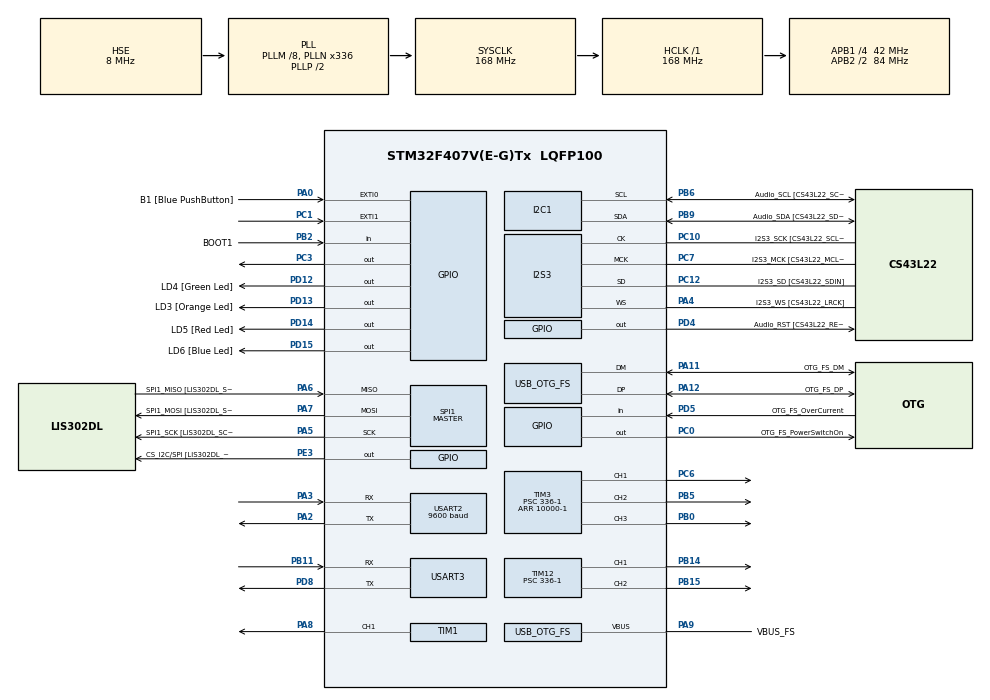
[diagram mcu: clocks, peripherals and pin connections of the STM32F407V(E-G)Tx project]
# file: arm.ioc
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I2S3.AudioFreq-Half_Duplex_Master=I2S_AUDIOFREQ_96K
I2S3.ErrorAudioFreq=-2.34 %
I2S3.ErrorAudioFreq-Half_Duplex_Master=0.8 %
I2S3.FullDuplexMode=I2S_FULLDUPLEXMODE_DISABLE
I2S3.Instance=SPI$Index
I2S3.RealAudioFreq=93.75 KHz
I2S3.RealAudioFreq-Half_Duplex_Master=96.774 KHz
I2S3.VirtualMode=I2S_MODE_MASTER
Mcu.Family=STM32F4
Mcu.Name=STM32F407V(E-G)Tx
Mcu.Package=LQFP100
NVIC.EXTI1_IRQn=true\:0\:0\:false\:true\:true\:1\:true\:true
NVIC.OTG_FS_IRQn=true\:0\:0\:false\:false\:true\:true\:true
NVIC.PriorityGroup=NVIC_PRIORITYGROUP_0
NVIC.USART3_IRQn=true\:0\:0\:false\:true\:true\:2\:true\:true
PA0-WKUP.GPIO_Label=B1 [Blue PushButton]
PA0-WKUP.GPIO_ModeDefaultEXTI=GPIO_MODE_EVT_RISING
PA0-WKUP.GPIO_PuPd=GPIO_NOPULL
PA0-WKUP.Signal=GPXTI0
PA10.GPIO_Label=OTG_FS_ID
PA10.GPIO_Mode=GPIO_MODE_AF_PP
PA10.GPIO_PuPd=GPIO_NOPULL
PA10.GPIO_Speed=GPIO_SPEED_FREQ_LOW
PA10.Signal=USB_OTG_FS_ID
PA11.GPIO_Label=OTG_FS_DM
PA11.GPIO_Mode=GPIO_MODE_AF_PP
PA11.GPIO_PuPd=GPIO_NOPULL
PA11.GPIO_Speed=GPIO_SPEED_FREQ_LOW
PA11.Mode=Host_Only
PA11.Signal=USB_OTG_FS_DM
PA12.GPIO_Label=OTG_FS_DP
PA12.GPIO_Mode=GPIO_MODE_AF_PP
PA12.GPIO_PuPd=GPIO_NOPULL
PA12.GPIO_Speed=GPIO_SPEED_FREQ_LOW
PA12.Mode=Host_Only
PA12.Signal=USB_OTG_FS_DP
PA13.GPIO_Label=SWDIO
PA13.Mode=Serial_Wire
PA13.Signal=SYS_JTMS-SWDIO
PA14.GPIO_Label=SWCLK
PA14.Mode=Serial_Wire
PA14.Signal=SYS_JTCK-SWCLK
PA2.Mode=Asynchronous
PA2.Signal=USART2_TX
PA3.Mode=Asynchronous
PA3.Signal=USART2_RX
PA4.GPIO_Label=I2S3_WS [CS43L22_LRCK]
PA4.GPIO_Mode=GPIO_MODE_AF_PP
PA4.GPIO_PuPd=GPIO_NOPULL
PA4.GPIO_Speed=GPIO_SPEED_FREQ_LOW
PA4.Mode=Half_Duplex_Master
PA4.Signal=I2S3_WS
PA5.GPIO_Label=SPI1_SCK [LIS302DL_SCL/SPC]
PA5.GPIO_Mode=GPIO_MODE_AF_PP
PA5.GPIO_PuPd=GPIO_NOPULL
PA5.GPIO_Speed=GPIO_SPEED_FREQ_LOW
PA5.Mode=Full_Duplex_Master
PA5.Signal=SPI1_SCK
PA6.GPIO_Label=SPI1_MISO [LIS302DL_SDO]
PA6.GPIO_Mode=GPIO_MODE_AF_PP
PA6.GPIO_PuPd=GPIO_NOPULL
PA6.GPIO_Speed=GPIO_SPEED_FREQ_LOW
PA6.Mode=Full_Duplex_Master
PA6.Signal=SPI1_MISO
PA7.GPIO_Label=SPI1_MOSI [LIS302DL_SDA/SDI/SDO]
PA7.GPIO_Mode=GPIO_MODE_AF_PP
PA7.GPIO_PuPd=GPIO_NOPULL
PA7.GPIO_Speed=GPIO_SPEED_FREQ_LOW
PA7.Mode=Full_Duplex_Master
PA7.Signal=SPI1_MOSI
PA8.Signal=S_TIM1_CH1
PA9.GPIO_Label=VBUS_FS
PA9.GPIO_Mode=GPIO_MODE_INPUT
PA9.GPIO_PuPd=GPIO_NOPULL
PA9.Mode=Activate_VBUS
PA9.Signal=USB_OTG_FS_VBUS
PB0.Signal=S_TIM3_CH3
PB10.GPIO_Label=CLK_IN [MP45DT02_CLK]
PB10.GPIO_Mode=GPIO_MODE_AF_PP
PB10.GPIO_PuPd=GPIO_NOPULL
PB10.GPIO_Speed=GPIO_SPEED_FREQ_LOW
PB10.Signal=I2S2_CK
PB11.Mode=Asynchronous
PB11.Signal=USART3_RX
PB14.Signal=S_TIM12_CH1
PB15.Signal=S_TIM12_CH2
PB2.GPIO_Label=BOOT1
PB2.GPIO_Mode=GPIO_MODE_INPUT
PB2.GPIO_PuPd=GPIO_NOPULL
PB2.Signal=GPIO_Input
PB3.GPIO_Label=SWO
PB3.Signal=SYS_JTDO-SWO
PB5.Signal=S_TIM3_CH2
PB6.GPIO_Label=Audio_SCL [CS43L22_SCL]
PB6.GPIO_Mode=GPIO_MODE_AF_OD
PB6.GPIO_PuPd=GPIO_NOPULL
PB6.GPIO_Speed=GPIO_SPEED_FREQ_LOW
PB6.Mode=I2C
PB6.Signal=I2C1_SCL
PB9.GPIO_Label=Audio_SDA [CS43L22_SDA]
PB9.GPIO_Mode=GPIO_MODE_AF_OD
PB9.GPIO_PuPd=GPIO_NOPULL
PB9.GPIO_Speed=GPIO_SPEED_FREQ_LOW
PB9.Mode=I2C
PB9.Signal=I2C1_SDA
PC0.GPIO_Label=OTG_FS_PowerSwitchOn
PC0.GPIO_PuPd=GPIO_NOPULL
PC0.GPIO_Speed=GPIO_SPEED_FREQ_LOW
PC0.PinState=GPIO_PIN_SET
PC0.Signal=GPIO_Output
PC1.GPIO_ModeDefaultEXTI=GPIO_MODE_IT_RISING_FALLING
PC1.Signal=GPXTI1
PC10.GPIO_Label=I2S3_SCK [CS43L22_SCLK]
PC10.GPIO_Mode=GPIO_MODE_AF_PP
PC10.GPIO_PuPd=GPIO_NOPULL
PC10.GPIO_Speed=GPIO_SPEED_FREQ_LOW
PC10.Mode=Half_Duplex_Master
PC10.Signal=I2S3_CK
PC12.GPIO_Label=I2S3_SD [CS43L22_SDIN]
PC12.GPIO_Mode=GPIO_MODE_AF_PP
PC12.GPIO_PuPd=GPIO_NOPULL
PC12.GPIO_Speed=GPIO_SPEED_FREQ_LOW
PC12.Mode=Half_Duplex_Master
PC12.Signal=I2S3_SD
PC14-OSC32_IN.GPIO_Label=PC14-OSC32_IN
PC14-OSC32_IN.Mode=LSE-External-Oscillator
PC14-OSC32_IN.Signal=RCC_OSC32_IN
PC15-OSC32_OUT.GPIO_Label=PC15-OSC32_OUT
PC15-OSC32_OUT.Mode=LSE-External-Oscillator
PC15-OSC32_OUT.Signal=RCC_OSC32_OUT
PC3.Signal=GPIO_Output
PC6.Signal=S_TIM3_CH1
PC7.GPIO_Label=I2S3_MCK [CS43L22_MCLK]
PC7.GPIO_Mode=GPIO_MODE_AF_PP
PC7.GPIO_PuPd=GPIO_NOPULL
PC7.GPIO_Speed=GPIO_SPEED_FREQ_LOW
PC7.Mode=Master_Clock_Activated
PC7.Signal=I2S3_MCK
PD12.GPIO_Label=LD4 [Green Led]
PD12.GPIO_PuPd=GPIO_NOPULL
PD12.GPIO_Speed=GPIO_SPEED_FREQ_LOW
PD12.Signal=GPIO_Output
PD13.GPIO_Label=LD3 [Orange Led]
PD13.GPIO_PuPd=GPIO_NOPULL
PD13.GPIO_Speed=GPIO_SPEED_FREQ_LOW
PD13.Signal=GPIO_Output
PD14.GPIO_Label=LD5 [Red Led]
PD14.GPIO_PuPd=GPIO_NOPULL
PD14.GPIO_Speed=GPIO_SPEED_FREQ_LOW
PD14.Signal=GPIO_Output
PD15.GPIO_Label=LD6 [Blue Led]
PD15.GPIO_PuPd=GPIO_NOPULL
PD15.GPIO_Speed=GPIO_SPEED_FREQ_LOW
PD15.Signal=GPIO_Output
PD4.GPIO_Label=Audio_RST [CS43L22_RESET]
PD4.GPIO_PuPd=GPIO_NOPULL
PD4.GPIO_Speed=GPIO_SPEED_FREQ_LOW
PD4.Signal=GPIO_Output
PD5.GPIO_Label=OTG_FS_OverCurrent
PD5.GPIO_Mode=GPIO_MODE_INPUT
PD5.GPIO_PuPd=GPIO_NOPULL
PD5.Signal=GPIO_Input
PD8.Mode=Asynchronous
PD8.Signal=USART3_TX
PE3.GPIO_Label=CS_I2C/SPI [LIS302DL_CS_I2C/SPI]
PE3.GPIO_PuPd=GPIO_NOPULL
PE3.GPIO_Speed=GPIO_SPEED_FREQ_LOW
PE3.Signal=GPIO_Output
PH0-OSC_IN.GPIO_Label=PH0-OSC_IN
PH0-OSC_IN.Mode=HSE-External-Oscillator
PH0-OSC_IN.Signal=RCC_OSC_IN
PH1-OSC_OUT.GPIO_Label=PH1-OSC_OUT
PH1-OSC_OUT.Mode=HSE-External-Oscillator
PH1-OSC_OUT.Signal=RCC_OSC_OUT
ProjectManager.HeapSize=0x200
ProjectManager.StackSize=0x400
ProjectManager.TargetToolchain=TrueSTUDIO
RCC.48MHZClocksFreq_Value=48000000
RCC.AHBFreq_Value=168000000
RCC.APB1CLKDivider=RCC_HCLK_DIV4
RCC.APB1Freq_Value=42000000
RCC.APB1TimFreq_Value=84000000
RCC.APB2CLKDivider=RCC_HCLK_DIV2
RCC.APB2Freq_Value=84000000
RCC.APB2TimFreq_Value=168000000
RCC.CortexFreq_Value=168000000
RCC.HCLKFreq_Value=168000000
RCC.HSE_VALUE=8000000
RCC.HSI_VALUE=16000000
RCC.PLLM=8
RCC.PLLN=336
RCC.PLLQ=7
RCC.SYSCLKFreq_VALUE=168000000
RCC.SYSCLKSource=RCC_SYSCLKSOURCE_PLLCLK
RCC.VCOOutputFreq_Value=336000000
SH.S_TIM12_CH1.0=TIM12_CH1,PWM Generation1 CH1
SH.S_TIM12_CH2.0=TIM12_CH2,PWM Generation2 CH2
SH.S_TIM1_CH1.0=TIM1_CH1,PWM Generation1 CH1
SH.S_TIM3_CH1.0=TIM3_CH1,PWM Generation1 CH1
SH.S_TIM3_CH2.0=TIM3_CH2,PWM Generation2 CH2
SH.S_TIM3_CH3.0=TIM3_CH3,PWM Generation3 CH3
SPI1.BaudRatePrescaler-Full_Duplex_Master=SPI_BAUDRATEPRESCALER_2
SPI1.CalculateBaudRate-Full_Duplex_Master=42.0 MBits/s
SPI1.Direction=SPI_DIRECTION_2LINES
SPI1.Mode=SPI_MODE_MASTER
SPI1.Mode-Full_Duplex_Master=SPI_MODE_MASTER
SPI1.VirtualType=VM_MASTER
TIM1.Channel-PWM\ Generation1\ CH1=TIM_CHANNEL_1
TIM1.Period=50000-1
TIM1.Prescaler=168-1
TIM1.Pulse-PWM\ Generation1\ CH1=15
TIM12.Channel-PWM\ Generation1\ CH1=TIM_CHANNEL_1
TIM12.Channel-PWM\ Generation2\ CH2=TIM_CHANNEL_2
TIM12.Period=10000-1
TIM12.Prescaler=336-1
TIM12.Pulse-PWM\ Generation1\ CH1=350
TIM12.Pulse-PWM\ Generation2\ CH2=620
TIM3.Channel-PWM\ Generation1\ CH1=TIM_CHANNEL_1
TIM3.Channel-PWM\ Generation2\ CH2=TIM_CHANNEL_2
TIM3.Channel-PWM\ Generation3\ CH3=TIM_CHANNEL_3
TIM3.Period=10000-1
TIM3.Prescaler=336-1
TIM3.Pulse-PWM\ Generation1\ CH1=620
TIM3.Pulse-PWM\ Generation2\ CH2=120
TIM3.Pulse-PWM\ Generation3\ CH3=420
USART2.BaudRate=9600
USART2.VirtualMode=VM_ASYNC
USART3.VirtualMode=VM_ASYNC
USB_HOST.BSP.number=1
USB_HOST.USBH_HandleTypeDef-CDC_FS=hUsbHostFS
USB_HOST.VirtualModeFS=Cdc
USB_HOST0.BSP.STBoard=false
USB_HOST0.BSP.api=Unknown
USB_HOST0.BSP.i2caddr=0
USB_HOST0.BSP.i2creg=0
USB_HOST0.BSP.instance=PC0
USB_HOST0.BSP.ip=GPIO
USB_HOST0.BSP.mode=Output
USB_HOST0.BSP.name=Drive_VBUS_FS
USB_HOST0.BSP.solution=PC0
USB_OTG_FS.VirtualMode=Host_Only
USB_OTG_FS.phy_itface=HCD_PHY_EMBEDDED
VP_TIM12_VS_ClockSourceINT.Mode=Internal
VP_TIM1_VS_ClockSourceINT.Mode=Internal
VP_TIM3_VS_ClockSourceINT.Mode=Internal
VP_USB_HOST_VS_USB_HOST_CDC_FS.Mode=CDC_FS
board=STM32F407G-DISC1

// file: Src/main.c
/* USER CODE BEGIN Header */
/**
  ******************************************************************************
  * @file           : main.c
  * @brief          : Main program body
  ******************************************************************************
  * @attention
  *
  * <h2><center>&copy; Copyright (c) 2020 STMicroelectronics.
  * All rights reserved.</center></h2>
  *
  * This software component is licensed by ST under Ultimate Liberty license
  * SLA0044, the "License"; You may not use this file except in compliance with
  * the License. You may obtain a copy of the License at:
  *                             www.st.com/SLA0044
  *
  ******************************************************************************
  */
/* USER CODE END Header */

#include "main.h"
#include "i2c.h"
#include "i2s.h"
#include "spi.h"
#include "tim.h"
#include "usart.h"
#include "usb_host.h"
#include "gpio.h"

/* USER CODE BEGIN Includes */
#include <stdbool.h>
/* USER CODE END Includes */

/* USER CODE BEGIN PV */
bool distance_flag = false;
int grab_mode = 0;

uint8_t rx3_data = 0;

uint8_t go_left = 1;
uint8_t go_right = 2;
uint8_t turn_right_go = 3;
uint8_t turn_right_stop = 5;

int MOTOR_PWM[5];
int MOTOR_PWM_MEAN[5];
int MOTOR_PWM_MAX[5];
int MOTOR_PWM_MIN[5];
int mode[5]={1,1,1,1,1};
char direction;
char response;

volatile uint32_t distance;
#define Delay_ms     HAL_Delay
#define millis()     HAL_GetTick()
#define SYS_CLOCK    168
#define SYSTICK_LOAD 167999
__IO uint32_t uwTick=0;
extern __IO uint32_t uwTick;
/* USER CODE END PV */

void SystemClock_Config(void);
static void MX_NVIC_Init(void);
void MX_USB_HOST_Process(void);

/* USER CODE BEGIN 0 */
uint32_t micros() {
  return (uwTick&0x3FFFFF)*1000 + (SYSTICK_LOAD-SysTick->VAL)/SYS_CLOCK;
}

void Delay_us(uint32_t us) {
  uint32_t temp = micros();
  uint32_t comp = temp + us;
  uint8_t  flag = 0;
  while(comp > temp){
    if(((uwTick&0x3FFFFF)==0)&&(flag==0)){
      flag = 1;
    }
    if(flag) temp = micros() + 0x400000UL * 1000;
    else     temp = micros();
  }
}

void HAL_GPIO_EXTI_Callback(uint16_t GPIO_Pin) //External interrupt for Sonar
{
	static uint32_t ss=0;
	uint32_t temp = GPIOC->IDR & 0x0002;//PC1�̴ϱ� 2^(1)=2
	switch (temp) {
	  case 0x0002:
		 ss = micros();
		 break;

	  case 0x0000 :
		 distance = (micros() - ss) / 58;
		 if(distance <= 3){
			 distance_flag = true;
		 }
		 break;
	}
}

void TEST(void)
{	//pwm[1](����3)-120, pwm[4](����2)-620, pwm[2](����)-430
	if(mode[1] == 1 && mode[4] == 1 && mode[2] == 1){
		MOTOR_PWM[1]++;
		if(MOTOR_PWM[1]>170){
			mode[1] = 2;
		}
		HAL_Delay(10);
	}
	if(mode[1] == 2 && mode[4] == 1 && mode[2] == 1){
		MOTOR_PWM[4]--;
		if(MOTOR_PWM[4]<160){
			mode[4] = 2;
		}
		HAL_Delay(10);
	}
	if(mode[1] == 2 && mode[4] == 2 && mode[2] == 1){
		MOTOR_PWM[2]--;
		if(MOTOR_PWM[2]<250){
			mode[1] = 1;
			mode[4] = 1;
			mode[2] = 2;
		}
		HAL_Delay(10);
	}
	if(mode[1] == 1 && mode[4] == 1 && mode[2] == 2){
		MOTOR_PWM[1]--;
		if(MOTOR_PWM[1]<120){
			mode[1] = 2;
		}
		HAL_Delay(10);
	}
	if(mode[1] == 2 && mode[4] == 1 && mode[2] == 2){
		MOTOR_PWM[4]++;
		if(MOTOR_PWM[4]>620){
			mode[4] = 2;
		}
		HAL_Delay(10);
	}
	if(mode[1] == 2 && mode[4] == 2 && mode[2] == 2){
		MOTOR_PWM[2]++;
		if(MOTOR_PWM[2]>430){
			mode[1] = 1;
			mode[4] = 1;
			mode[2] = 1;
		}
		HAL_Delay(10);
	}

//	if(mode[2] == 1){
//		MOTOR_PWM[2]--;
//		if(MOTOR_PWM[2]<216){
//			mode[2] = 0;
//		}
//		HAL_Delay(10);
//	}
//
//	if(mode[2] == 2){
//		MOTOR_PWM[2]++;
//		if(MOTOR_PWM[2]>445){
//			mode[2] = 1;
//		}
//		HAL_Delay(10);
//	}

//	 if(mode[4] == 1){
// 		 MOTOR_PWM[4]--;
// 		 if(MOTOR_PWM[4]<160)
// 			 mode[4]=2;
// 		 HAL_Delay(10);
// 	 }
//	 else if(mode[4]==2){
// 		 MOTOR_PWM[4]++;
// 		 if(MOTOR_PWM[4]>610)
// 			 mode[4]=0;
// 		 HAL_Delay(10);
// 	 }
}

void TEST0(void)
{	//pwm[1](����3)-120, pwm[4](����2)-620, pwm[2](����)-430
	if(mode[1] == 1 && mode[4] == 1 && mode[2] == 1){
		MOTOR_PWM[4]--;
		if(MOTOR_PWM[4]<160){
			mode[4] = 2;
		}
		HAL_Delay(10);
	}
	else if(mode[1] == 1 && mode[4] == 2 && mode[2] == 1){
		if(MOTOR_PWM[4] < 400){
			MOTOR_PWM[1]++;
			MOTOR_PWM[4]++;
		}
		if(distance_flag){//distance <= 3
			mode[1] = 2;
		}
		HAL_Delay(50);
	}
	else if(mode[1] == 2 && mode[4] == 2 && mode[2] == 1){
		MOTOR_PWM[2]--;
		if(MOTOR_PWM[2]<310){//250
			mode[1] = 1;
			mode[4] = 1;
			mode[2] = 2;
		}
		HAL_Delay(10);
	}
	else if((mode[1] == 1 || mode[4] == 1) && mode[2] == 2){
		if(MOTOR_PWM[1]<120){
			mode[1] = 2;
		}
		else{
			MOTOR_PWM[1]--;
		}
		if(MOTOR_PWM[4]>620){
			mode[4] = 2;
		}
		else{
			MOTOR_PWM[4]++;
		}
		HAL_Delay(10);
	}

	else if(mode[1] == 2 && mode[4] == 2 && mode[2] == 2){
		//HAL_UART_Transmit(&huart2, &turn_right_go, 1, 100);
		MOTOR_PWM[2]++;
		if(MOTOR_PWM[2]>430){
			mode[1] = 1;
			mode[4] = 1;
			mode[2] = 1;
			distance_flag = false;
		}
		HAL_Delay(10);

	}

}

void TEST1(void)
{	//pwm[1](����3)-120, pwm[4](����2)-620, pwm[2](����)-430
	if(mode[1] == 1 && mode[4] == 1 && mode[2] == 1 && grab_mode == 1){
		MOTOR_PWM[4]--;
		if(MOTOR_PWM[4]<160){
			mode[4] = 2;
		}
		HAL_Delay(10);
	}
	else if(mode[1] == 1 && mode[4] == 2 && mode[2] == 1 && grab_mode == 1){
		if(MOTOR_PWM[4] < 400){
			MOTOR_PWM[1]++;
			MOTOR_PWM[4]++;
		}
		if(distance_flag){//distance <= 3
			mode[1] = 2;
		}
		HAL_Delay(100);
	}
	else if(mode[1] == 2 && mode[4] == 2 && mode[2] == 1 && grab_mode == 1){
		MOTOR_PWM[2]--;
		if(MOTOR_PWM[2]<200){//250
			mode[1] = 1;
			mode[4] = 1;
			mode[2] = 2;
		}
		HAL_Delay(10);
	}
	else if((mode[1] == 1 || mode[4] == 1) && mode[2] == 2 && grab_mode == 1){

		if(MOTOR_PWM[4] > 400){
			mode[4] = 2;

		}
		else{
			MOTOR_PWM[4]++;
		}
		if(MOTOR_PWM[1]<120){
			mode[1] = 2;
			HAL_UART_Transmit(&huart2, &turn_right_go, 1, 100);
		}
		else{
			MOTOR_PWM[1]--;
		}

		HAL_Delay(10);
	}

	else if((mode[1] == 2 || mode[4] == 2) && mode[2] == 2 && grab_mode == 2){

		if(MOTOR_PWM[4] < 300){
			mode[1] = 1;
			mode[4] = 1;
			mode[2] = 1;
		}
		else{
			MOTOR_PWM[4]--;
		}

		HAL_Delay(10);
	}
	else if(mode[1] == 1 && mode[4] == 1 && mode[2] == 1 && grab_mode == 2){
		MOTOR_PWM[2]++;
		if(MOTOR_PWM[2] > 430){
			grab_mode = 3;
		}
		HAL_Delay(10);
	}
	else if(mode[1] == 1 && mode[4] == 1 && mode[2] == 1 && grab_mode == 3){
		MOTOR_PWM[1]--;
		MOTOR_PWM[4]--;
		if(MOTOR_PWM[1] < 120){
			mode[1] = 0;
			mode[4] = 0;
			mode[2] = 0;
			distance_flag = false;
			HAL_Delay(3000);
			HAL_UART_Transmit(&huart2, &turn_right_go, 1, 100);
		}
		HAL_Delay(10);
	}
}

/* USER CODE END 0 */

int main(void)
{
  /* USER CODE BEGIN 1 */
	//PWM
	MOTOR_PWM[0] = 620;//����-����(mid)
	MOTOR_PWM[1] = 120;//����3-������(min)
	MOTOR_PWM[2] = 430;//����-max
	MOTOR_PWM[3] = 350;//����1-mid
	MOTOR_PWM[4] = 620;//����2-�ڷ� ����(max)

	MOTOR_PWM_MEAN[0] = 620;
	MOTOR_PWM_MEAN[1] = 400;
	MOTOR_PWM_MEAN[2] = 250;//������ ���� (300->4cm)
	MOTOR_PWM_MEAN[3] = 350;
	MOTOR_PWM_MEAN[4] = 400;

	MOTOR_PWM_MAX[0] = 630;//left about 5 degree
	MOTOR_PWM_MAX[1] = 530;
	MOTOR_PWM_MAX[2] = 430;
	MOTOR_PWM_MAX[3] = 590;
	MOTOR_PWM_MAX[4] = 620;

	MOTOR_PWM_MIN[0] = 380;//right 90 degree
	MOTOR_PWM_MIN[1] = 120;
	MOTOR_PWM_MIN[2] = 215;
	MOTOR_PWM_MIN[3] = 110;
	MOTOR_PWM_MIN[4] = 160;
  /* USER CODE END 1 */

  /* MCU Configuration--------------------------------------------------------*/

  /* Reset of all peripherals, Initializes the Flash interface and the Systick. */
  HAL_Init();

  /* Configure the system clock */
  SystemClock_Config();

  /* Initialize all configured peripherals */
  MX_GPIO_Init();
  MX_I2C1_Init();
  MX_I2S3_Init();
  MX_SPI1_Init();
  MX_TIM3_Init();
  MX_TIM12_Init();
  MX_USB_HOST_Init();
  MX_TIM1_Init();
  MX_USART2_UART_Init();
  MX_USART3_UART_Init();

  /* Initialize interrupts */
  MX_NVIC_Init();
  /* USER CODE BEGIN 2 */

  //raspberryPi to robotArm
  HAL_UART_Receive_IT(&huart3,&rx3_data,1);

  //Robot Arm
  //HAL_TIM_PWM_Start(&htim3,TIM_CHANNEL_1);
  HAL_TIM_PWM_Start(&htim3,TIM_CHANNEL_2);
  HAL_TIM_PWM_Start(&htim3,TIM_CHANNEL_3);
  HAL_TIM_PWM_Start(&htim12,TIM_CHANNEL_1);
  HAL_TIM_PWM_Start(&htim12,TIM_CHANNEL_2);

  //SONAR
  HAL_TIM_PWM_Start(&htim1,TIM_CHANNEL_1);

  //TIM3->CCR1=MOTOR_PWM[0];

//  HAL_UART_Transmit(&huart2, &go_right, 1, 100);
//  HAL_Delay(5000);
  //HAL_UART_Transmit(&huart2, &go_left, 1, 100);
//  HAL_Delay(5000);
//  HAL_UART_Transmit(&huart2, &turn_right_go, 1, 100);
//  HAL_Delay(10000);
//  HAL_UART_Transmit(&huart2, &turn_right_stop, 1, 100);
//  HAL_Delay(10000);
//  HAL_UART_Transmit(&huart2, &turn_right_go, 1, 100);
//  HAL_Delay(10000);
//  HAL_UART_Transmit(&huart2, &turn_right_stop, 1, 100);

  /* USER CODE END 2 */

  /* Infinite loop */
  /* USER CODE BEGIN WHILE */
  while (1)
  {

	  if(rx3_data != 0){

		  if(rx3_data == 1){
			  //HAL_GPIO_WritePin(GPIOC,GPIO_PIN_3,GPIO_PIN_SET);
			  HAL_UART_Transmit(&huart2, &go_left, 1, 100);
		  }
		  else if(rx3_data == 2){
			  //HAL_GPIO_WritePin(GPIOC,GPIO_PIN_3,GPIO_PIN_RESET);
			  HAL_UART_Transmit(&huart2, &go_right, 1, 100);
		  }
		  else if(rx3_data == 3){
			  grab_mode = 1;
		  }
		  else if(rx3_data == 4){
			  grab_mode = 2;
		  }
		  else if(rx3_data == 5){
			  HAL_UART_Transmit(&huart2, &turn_right_stop, 1, 100);
		  }
		  else if(rx3_data == 6){
			  HAL_UART_Transmit(&huart2, &turn_right_stop, 1, 100);
		  }
		  rx3_data = 0;
	  }

      if(distance_flag){
    	  HAL_GPIO_WritePin(GPIOC,GPIO_PIN_3,GPIO_PIN_SET);
      }
      else{
    	  HAL_GPIO_WritePin(GPIOC,GPIO_PIN_3,GPIO_PIN_RESET);
      }

	// MOVE

	//
	TIM3->CCR2=MOTOR_PWM[1];
	TIM3->CCR3=MOTOR_PWM[2];
	TIM12->CCR1=MOTOR_PWM[3];
	TIM12->CCR2=MOTOR_PWM[4];

	TEST1();

    /* USER CODE END WHILE */
    MX_USB_HOST_Process();

  }
}

void SystemClock_Config(void)
{
  RCC_OscInitTypeDef RCC_OscInitStruct = {0};
  RCC_ClkInitTypeDef RCC_ClkInitStruct = {0};
  RCC_PeriphCLKInitTypeDef PeriphClkInitStruct = {0};

  /** Configure the main internal regulator output voltage
  */
  __HAL_RCC_PWR_CLK_ENABLE();
  __HAL_PWR_VOLTAGESCALING_CONFIG(PWR_REGULATOR_VOLTAGE_SCALE1);
  /** Initializes the CPU, AHB and APB busses clocks
  */
  RCC_OscInitStruct.OscillatorType = RCC_OSCILLATORTYPE_HSE;
  RCC_OscInitStruct.HSEState = RCC_HSE_ON;
  RCC_OscInitStruct.PLL.PLLState = RCC_PLL_ON;
  RCC_OscInitStruct.PLL.PLLSource = RCC_PLLSOURCE_HSE;
  RCC_OscInitStruct.PLL.PLLM = 8;
  RCC_OscInitStruct.PLL.PLLN = 336;
  RCC_OscInitStruct.PLL.PLLP = RCC_PLLP_DIV2;
  RCC_OscInitStruct.PLL.PLLQ = 7;
  if (HAL_RCC_OscConfig(&RCC_OscInitStruct) != HAL_OK)
  {
    Error_Handler();
  }
  /** Initializes the CPU, AHB and APB busses clocks
  */
  RCC_ClkInitStruct.ClockType = RCC_CLOCKTYPE_HCLK|RCC_CLOCKTYPE_SYSCLK
                              |RCC_CLOCKTYPE_PCLK1|RCC_CLOCKTYPE_PCLK2;
  RCC_ClkInitStruct.SYSCLKSource = RCC_SYSCLKSOURCE_PLLCLK;
  RCC_ClkInitStruct.AHBCLKDivider = RCC_SYSCLK_DIV1;
  RCC_ClkInitStruct.APB1CLKDivider = RCC_HCLK_DIV4;
  RCC_ClkInitStruct.APB2CLKDivider = RCC_HCLK_DIV2;

  if (HAL_RCC_ClockConfig(&RCC_ClkInitStruct, FLASH_LATENCY_5) != HAL_OK)
  {
    Error_Handler();
  }
  PeriphClkInitStruct.PeriphClockSelection = RCC_PERIPHCLK_I2S;
  PeriphClkInitStruct.PLLI2S.PLLI2SN = 192;
  PeriphClkInitStruct.PLLI2S.PLLI2SR = 2;
  if (HAL_RCCEx_PeriphCLKConfig(&PeriphClkInitStruct) != HAL_OK)
  {
    Error_Handler();
  }
}

/**
  * @brief NVIC Configuration.
  * @retval None
  */
static void MX_NVIC_Init(void)
{
  /* EXTI1_IRQn interrupt configuration */
  HAL_NVIC_SetPriority(EXTI1_IRQn, 0, 0);
  HAL_NVIC_EnableIRQ(EXTI1_IRQn);
  /* USART3_IRQn interrupt configuration */
  HAL_NVIC_SetPriority(USART3_IRQn, 0, 0);
  HAL_NVIC_EnableIRQ(USART3_IRQn);
}

/* USER CODE BEGIN 4 */
void HAL_UART_RxCpltCallback(UART_HandleTypeDef *huart)
{
  if(huart->Instance==USART3){
	  HAL_UART_Receive_IT(&huart3,&rx3_data,1);
  }
}
/* USER CODE END 4 */

void Error_Handler(void)
{
}

/************************ (C) COPYRIGHT STMicroelectronics *****END OF FILE****/
